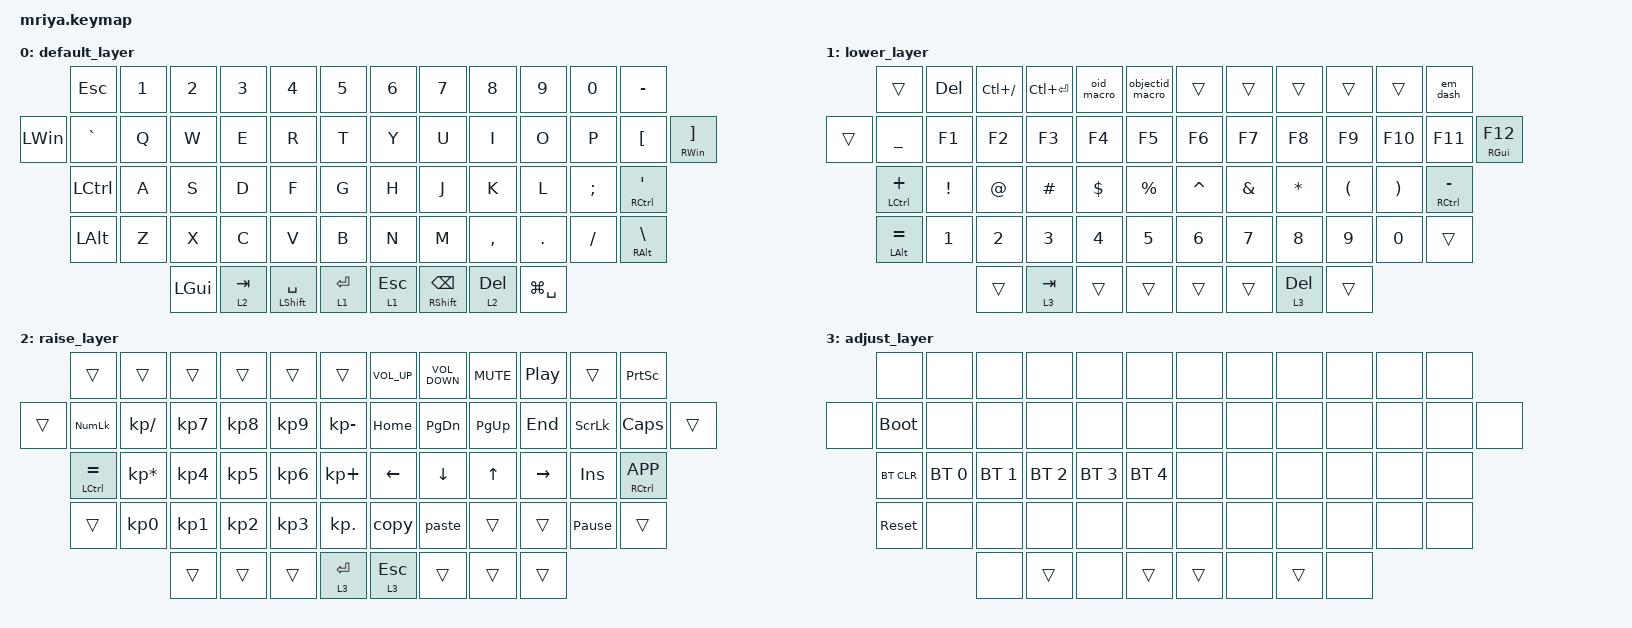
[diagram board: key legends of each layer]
/*
 * Copyright (c) 2023 Andrei Gaevskii
 *
 * SPDX-License-Identifier: MIT
 */

#include <behaviors.dtsi>
#include <dt-bindings/zmk/bt.h>
#include <dt-bindings/zmk/keys.h>

#define DEF 0
#define LWR 1
#define RSE 2
#define ADJ 3

&lt { quick_tap_ms = <200>; };

&mt { quick_tap_ms = <200>; };

/ {
    macros {
        copy: copy {
            compatible = "zmk,behavior-macro";
            #binding-cells = <0>;
            bindings = <&kp LC(INS)>, <&macro_press>;

            label = "COPY";
        };

        paste: paste {
            compatible = "zmk,behavior-macro";
            #binding-cells = <0>;
            bindings = <&kp LS(INS)>;
            label = "PASTE";
        };

        em_dash: em_dash {
            compatible = "zmk,behavior-macro";
            #binding-cells = <0>;
            bindings =
                <&macro_press>,
                <&kp LCTRL &kp LEFT_SHIFT>,
                <&macro_tap>,
                <&kp U>,
                <&macro_release>,
                <&kp LEFT_CONTROL &kp LEFT_SHIFT>,
                <&macro_tap>,
                <&kp N2 &kp N0 &kp N1 &kp N4 &kp SPACE>;

            label = "EM_DASH";
        };

        objectid_macro: objectid_macro {
            compatible = "zmk,behavior-macro";
            #binding-cells = <0>;
            bindings = <&kp LS(O) &kp B &kp J &kp E &kp C &kp T &kp LS(I) &kp D &kp LPAR &kp DQT &kp DQT &kp RPAR &kp LEFT &kp LEFT>;
            label = "OBJECTID_MACRO";
        };

        oid_macro: oid_macro {
            compatible = "zmk,behavior-macro";
            #binding-cells = <0>;
            bindings = <&kp LEFT_BRACE &kp DQT &kp DLLR &kp O &kp I &kp D &kp DQT &kp COLON &kp DQT &kp DQT &kp RBRC &kp LEFT &kp LEFT>;
            label = "OID_MACRO";
        };
    };

    combos {
        compatible = "zmk,combos";

        combo_caps_word {
            bindings = <&caps_word>;
            key-positions = <55 52>;
        };
    };

    keymap {
        compatible = "zmk,keymap";

        default_layer {
            bindings = <
          &kp ESC    &kp N1  &kp N2    &kp N3     &kp N4           &kp N5       &kp N6     &kp N7               &kp N8     &kp N9         &kp N0    &kp MINUS
&kp LWIN  &kp GRAVE  &kp Q   &kp W     &kp E      &kp R            &kp T        &kp Y      &kp U                &kp I      &kp O          &kp P     &kp LBKT       &mt RWIN RBKT
          &kp LCTRL  &kp A   &kp S     &kp D      &kp F            &kp G        &kp H      &kp J                &kp K      &kp L          &kp SEMI  &mt RCTRL SQT
          &kp LALT   &kp Z   &kp X     &kp C      &kp V            &kp B        &kp N      &kp M                &kp COMMA  &kp DOT        &kp FSLH  &mt RALT BSLH
                             &kp LGUI  &lt 2 TAB  &mt LSHFT SPACE  &lt 1 RET    &lt 1 ESC  &mt RSHFT BACKSPACE  &lt 2 DEL  &kp LG(SPACE)
            >;
        };

        lower_layer {
            bindings = <
        &trans          &kp DEL   &kp LC(SLASH)  &kp LC(ENTER)  &oid_macro  &objectid_macro    &trans     &trans    &trans     &trans    &trans    &em_dash
&trans  &kp UNDER       &kp F1    &kp F2         &kp F3         &kp F4      &kp F5             &kp F6     &kp F7    &kp F8     &kp F9    &kp F10   &kp F11          &mt RGUI F12
        &mt LCTRL PLUS  &kp EXCL  &kp AT         &kp HASH       &kp DLLR    &kp PRCNT          &kp CARET  &kp AMPS  &kp STAR   &kp LPAR  &kp RPAR  &mt RCTRL MINUS
        &mt LALT EQUAL  &kp N1    &kp N2         &kp N3         &kp N4      &kp N5             &kp N6     &kp N7    &kp N8     &kp N9    &kp N0    &trans
                                  &trans         &lt 3 TAB      &trans      &trans             &trans     &trans    &lt 3 DEL  &trans
            >;
        };

        raise_layer {
            bindings = <
        &trans           &trans           &trans     &trans     &trans     &trans          &kp C_VOLUME_UP  &kp C_VOLUME_DOWN  &kp C_MUTE  &kp C_PLAY_PAUSE  &trans           &kp PRINTSCREEN
&trans  &kp KP_NUM       &kp KP_SLASH     &kp KP_N7  &kp KP_N8  &kp KP_N9  &kp KP_MINUS    &kp HOME         &kp PG_DN          &kp PG_UP   &kp END           &kp SLCK         &kp CAPS         &trans
        &mt LCTRL EQUAL  &kp KP_MULTIPLY  &kp KP_N4  &kp KP_N5  &kp KP_N6  &kp KP_PLUS     &kp LEFT         &kp DOWN           &kp UP      &kp RIGHT         &kp INS          &mt RCTRL K_APP
        &trans           &kp KP_N0        &kp KP_N1  &kp KP_N2  &kp KP_N3  &kp KP_DOT      &copy            &paste             &trans      &trans            &kp PAUSE_BREAK  &trans
                                          &trans     &trans     &trans     &lt 3 RET       &lt 3 ESC        &trans             &trans      &trans
            >;
        };

        adjust_layer {
            bindings = <
       &none        &none         &none         &none         &none         &none           &none   &none  &none   &none  &none  &none
&none  &bootloader  &none         &none         &none         &none         &none           &none   &none  &none   &none  &none  &none  &none
       &bt BT_CLR   &bt BT_SEL 0  &bt BT_SEL 1  &bt BT_SEL 2  &bt BT_SEL 3  &bt BT_SEL 4    &none   &none  &none   &none  &none  &none
       &sys_reset   &none         &none         &none         &none         &none           &none   &none  &none   &none  &none  &none
                                  &none         &trans        &none         &trans          &trans  &none  &trans  &none
            >;
        };
    };
};
